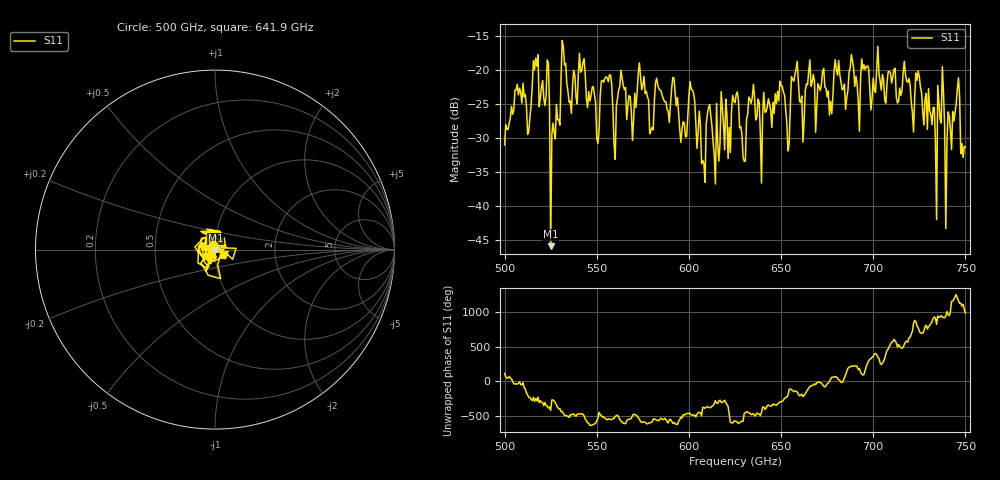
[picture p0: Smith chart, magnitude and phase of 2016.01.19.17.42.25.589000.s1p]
!Created with skrf (http://scikit-rf.org).
# GHz S RI R 50.0
!freq ReS11 ImS11
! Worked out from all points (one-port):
!   401 points, 500 GHz to 750 GHz, reference 50 ohm
!   lowest |S11| = -46.0 dB at 525 GHz (marker M1), VSWR 1.01, Z = 50.2 - j0.443 ohm
!   |S11| at or under -10 dB: start of sweep to end of sweep
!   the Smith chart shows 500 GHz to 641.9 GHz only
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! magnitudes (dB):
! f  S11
! 500 GHz  -31.1
! 506.9 GHz  -22.2
! 513.1 GHz  -29.1
! 516.9 GHz  -18.3
! 525 GHz  -46.0
! 531.2 GHz  -15.7
! 541.9 GHz  -20.1
! 550 GHz  -30.1
! 562.5 GHz  -22.4
! 593.8 GHz  -24.1
! 601.9 GHz  -23.0
! 607.5 GHz  -33.4
! 610.6 GHz  -25.6
! 615 GHz  -25.0
! 625 GHz  -24.9
! 629.4 GHz  -32.9
! 633.8 GHz  -25.0
! 640 GHz  -26.5
! 650.6 GHz  -22.4
! 653.8 GHz  -32.0
! 656.2 GHz  -21.4
! 687.5 GHz  -19.7
! 718.8 GHz  -21.8
! 733.1 GHz  -25.6
! 736.9 GHz  -27.8
! 740.6 GHz  -26.2
! 745.6 GHz  -22.9
! 750 GHz  -31.4
